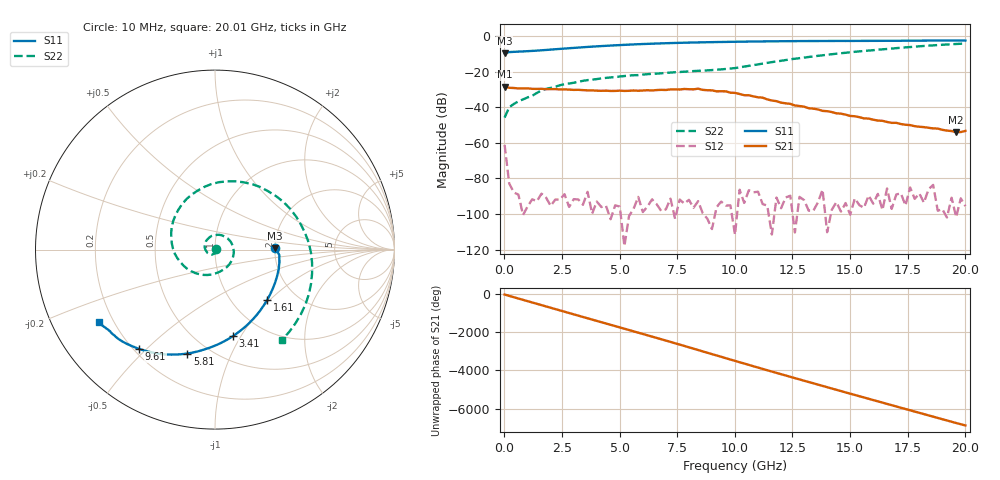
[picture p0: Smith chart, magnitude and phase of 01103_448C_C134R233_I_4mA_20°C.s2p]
!;Filter: kein Filter
!auto
!3/21/2019 9:25:24 AM
!3/21/2019 9:25:40 AM
!SP-Measurements Prober G4
!SP-Measurements Prober G4
!134
!233
!12
!20
!-20
!0.00399976
!1.88
!0.54220246
!0.54220246
# Hz S  RI  R 50
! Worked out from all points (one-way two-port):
!   101 points, 10 MHz to 20.01 GHz, reference 50 ohm
!   highest |S21| = -28.39 dB at 10 MHz (marker M1); lowest = -53.9 dB at 19.61 GHz (marker M2)
!   lowest |S11| = -9.5 dB at 10 MHz (marker M3), VSWR 2.01, Z = 101 + j2.07 ohm
!   |S11| at or under -10 dB: nowhere
!   |S22| runs from -45.8 to -4.1 dB; largest |S21 - S12| = 0.037
!   S11 on the Smith chart (normalised r, x): 10 MHz: 2.01, +0.04; 1.61 GHz: 1.43, -0.97; 3.41 GHz: 0.73, -0.92; 5.81 GHz: 0.38, -0.69; 9.61 GHz: 0.22, -0.48; 20.01 GHz: 0.15, -0.28
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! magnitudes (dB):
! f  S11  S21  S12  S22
! 10 MHz  -9.5  -28.4  -61.1  -45.8
! 210 MHz  -8.9  -29.0  -82.8  -39.9
! 610 MHz  -8.6  -29.3  -89.1  -36.6
! 1.21 GHz  -8.2  -29.6  -91.7  -33.5
! 1.61 GHz  -7.9  -29.5  -88.6  -30.4
! 2.61 GHz  -6.9  -29.9  -88.9  -26.9
! 3.41 GHz  -6.2  -30.3  -94.8  -25.1
! 5.81 GHz  -4.4  -30.6  -90.4  -21.8
! 6.81 GHz  -4.0  -30.1  -98.4  -20.8
! 8.41 GHz  -3.4  -29.5  -92.8  -19.4
! 9.21 GHz  -3.2  -31.0  -96.2  -18.8
! 9.61 GHz  -3.1  -31.0  -95.3  -18.4
! 10.01 GHz  -3.1  -31.8  -111.7  -17.9
! 10.41 GHz  -3.0  -33.1  -93.8  -17.1
! 11.21 GHz  -2.9  -34.5  -94.4  -15.4
! 12.01 GHz  -2.8  -37.3  -96.8  -13.8
! 13.41 GHz  -2.7  -40.7  -98.2  -11.3
! 15.01 GHz  -2.6  -44.8  -100.4  -9.0
! 16.81 GHz  -2.5  -48.7  -97.2  -6.9
! 18.81 GHz  -2.4  -51.9  -98.2  -4.9
! 19.61 GHz  -2.3  -53.9  -101.8  -4.3
! 20.01 GHz  -2.4  -53.3  -95.6  -4.1
